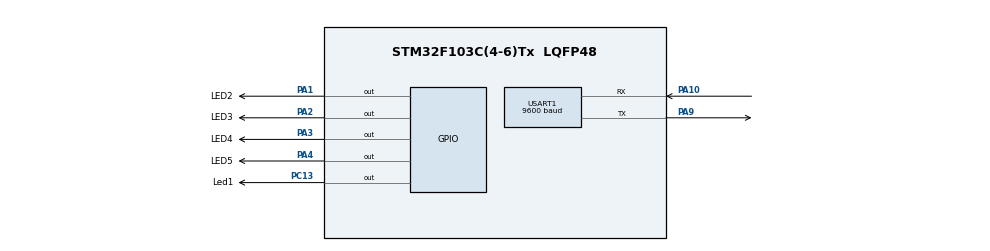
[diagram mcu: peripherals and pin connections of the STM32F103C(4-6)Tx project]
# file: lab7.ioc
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Mcu.Family=STM32F1
PA10.Mode=Asynchronous
USART1.BaudRate=9600
PC13-TAMPER-RTC.Signal=GPIO_Output
VP_SYS_VS_ND.Mode=No_Debug
ProjectManager.StackSize=0x400
PA9.Mode=Asynchronous
ProjectManager.TargetToolchain=STM32CubeIDE
PA9.Signal=USART1_TX
PA1.Signal=GPIO_Output
board=custom
PC13-TAMPER-RTC.GPIO_Label=Led1
RCC.APB2Freq_Value=8000000
PA1.GPIO_Label=LED2
Mcu.Name=STM32F103C(4-6)Tx
PA2.Signal=GPIO_Output
PA4.Signal=GPIO_Output
Mcu.Package=LQFP48
USART1.VirtualMode=VM_ASYNC
PA2.GPIO_Label=LED3
PA10.Signal=USART1_RX
ProjectManager.HeapSize=0x200
NVIC.PriorityGroup=NVIC_PRIORITYGROUP_4
NVIC.USART1_IRQn=true\:0\:0\:false\:false\:true\:true\:true
RCC.APB1Freq_Value=8000000
PA4.GPIO_Label=LED5
PA3.GPIO_Label=LED4
PA3.Signal=GPIO_Output

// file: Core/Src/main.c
/* USER CODE BEGIN Header */
/**
  ******************************************************************************
  * @file           : main.c
  * @brief          : Main program body
  ******************************************************************************
  * @attention
  *
  * <h2><center>&copy; Copyright (c) 2021 STMicroelectronics.
  * All rights reserved.</center></h2>
  *
  * This software component is licensed by ST under BSD 3-Clause license,
  * the "License"; You may not use this file except in compliance with the
  * License. You may obtain a copy of the License at:
  *                        opensource.org/licenses/BSD-3-Clause
  *
  ******************************************************************************
  */
/* USER CODE END Header */
#include "main.h"

/* USER CODE BEGIN Includes */
#include <stdbool.h>
/* USER CODE END Includes */

UART_HandleTypeDef huart1;

/* USER CODE BEGIN PV */
uint8_t str[1];
bool RxCompleted = false;
bool TxCompleted = true;
/* USER CODE END PV */

void SystemClock_Config(void);
static void MX_GPIO_Init(void);
static void MX_USART1_UART_Init(void);
/* USER CODE BEGIN PFP */
void HAL_UART_TxCpltCallback(UART_HandleTypeDef *huart);
void HAL_UART_RxCpltCallback(UART_HandleTypeDef *huart);
/* USER CODE END PFP */

int main(void)
{

  /* MCU Configuration--------------------------------------------------------*/

  /* Reset of all peripherals, Initializes the Flash interface and the Systick. */
  HAL_Init();

  /* Configure the system clock */
  SystemClock_Config();

  /* Initialize all configured peripherals */
  MX_GPIO_Init();
  MX_USART1_UART_Init();
  /* USER CODE BEGIN 2 */
  HAL_UART_Receive_IT(&huart1, str, 1);
  /* USER CODE END 2 */

  /* Infinite loop */
  while (1)
  {
	if(str[0] == '0') HAL_GPIO_WritePin(Led1_GPIO_Port, Led1_Pin, GPIO_PIN_RESET);
	if(str[0] == '1') HAL_GPIO_WritePin(Led1_GPIO_Port, Led1_Pin, GPIO_PIN_SET);

	if(str[0] == 'q') HAL_GPIO_WritePin(LED2_GPIO_Port, LED2_Pin, GPIO_PIN_RESET);
	if(str[0] == 'w') HAL_GPIO_WritePin(LED2_GPIO_Port, LED2_Pin, GPIO_PIN_SET);

	if(str[0] == 'e') HAL_GPIO_WritePin(LED3_GPIO_Port, LED3_Pin, GPIO_PIN_RESET);
	if(str[0] == 'r') HAL_GPIO_WritePin(LED3_GPIO_Port, LED3_Pin, GPIO_PIN_SET);

	if(str[0] == 't') HAL_GPIO_WritePin(LED4_GPIO_Port, LED4_Pin, GPIO_PIN_RESET);
	if(str[0] == '0') HAL_GPIO_WritePin(LED4_GPIO_Port, LED4_Pin, GPIO_PIN_SET);

  }
}

void SystemClock_Config(void)
{
  RCC_OscInitTypeDef RCC_OscInitStruct = {0};
  RCC_ClkInitTypeDef RCC_ClkInitStruct = {0};

  /** Initializes the RCC Oscillators according to the specified parameters
  * in the RCC_OscInitTypeDef structure.
  */
  RCC_OscInitStruct.OscillatorType = RCC_OSCILLATORTYPE_HSI;
  RCC_OscInitStruct.HSIState = RCC_HSI_ON;
  RCC_OscInitStruct.HSICalibrationValue = RCC_HSICALIBRATION_DEFAULT;
  RCC_OscInitStruct.PLL.PLLState = RCC_PLL_NONE;
  if (HAL_RCC_OscConfig(&RCC_OscInitStruct) != HAL_OK)
  {
    Error_Handler();
  }
  /** Initializes the CPU, AHB and APB buses clocks
  */
  RCC_ClkInitStruct.ClockType = RCC_CLOCKTYPE_HCLK|RCC_CLOCKTYPE_SYSCLK
                              |RCC_CLOCKTYPE_PCLK1|RCC_CLOCKTYPE_PCLK2;
  RCC_ClkInitStruct.SYSCLKSource = RCC_SYSCLKSOURCE_HSI;
  RCC_ClkInitStruct.AHBCLKDivider = RCC_SYSCLK_DIV1;
  RCC_ClkInitStruct.APB1CLKDivider = RCC_HCLK_DIV1;
  RCC_ClkInitStruct.APB2CLKDivider = RCC_HCLK_DIV1;

  if (HAL_RCC_ClockConfig(&RCC_ClkInitStruct, FLASH_LATENCY_0) != HAL_OK)
  {
    Error_Handler();
  }
}

static void MX_USART1_UART_Init(void)
{

  huart1.Instance = USART1;
  huart1.Init.BaudRate = 9600;
  huart1.Init.WordLength = UART_WORDLENGTH_8B;
  huart1.Init.StopBits = UART_STOPBITS_1;
  huart1.Init.Parity = UART_PARITY_NONE;
  huart1.Init.Mode = UART_MODE_TX_RX;
  huart1.Init.HwFlowCtl = UART_HWCONTROL_NONE;
  huart1.Init.OverSampling = UART_OVERSAMPLING_16;
  if (HAL_UART_Init(&huart1) != HAL_OK)
  {
    Error_Handler();
  }

}

static void MX_GPIO_Init(void)
{
  GPIO_InitTypeDef GPIO_InitStruct = {0};

  /* GPIO Ports Clock Enable */
  __HAL_RCC_GPIOC_CLK_ENABLE();
  __HAL_RCC_GPIOA_CLK_ENABLE();

  /*Configure GPIO pin Output Level */
  HAL_GPIO_WritePin(Led1_GPIO_Port, Led1_Pin, GPIO_PIN_RESET);

  /*Configure GPIO pin Output Level */
  HAL_GPIO_WritePin(GPIOA, LED2_Pin|LED3_Pin|LED4_Pin|LED5_Pin, GPIO_PIN_RESET);

  /*Configure GPIO pin : Led1_Pin */
  GPIO_InitStruct.Pin = Led1_Pin;
  GPIO_InitStruct.Mode = GPIO_MODE_OUTPUT_PP;
  GPIO_InitStruct.Pull = GPIO_NOPULL;
  GPIO_InitStruct.Speed = GPIO_SPEED_FREQ_LOW;
  HAL_GPIO_Init(Led1_GPIO_Port, &GPIO_InitStruct);

  /*Configure GPIO pins : LED2_Pin LED3_Pin LED4_Pin LED5_Pin */
  GPIO_InitStruct.Pin = LED2_Pin|LED3_Pin|LED4_Pin|LED5_Pin;
  GPIO_InitStruct.Mode = GPIO_MODE_OUTPUT_PP;
  GPIO_InitStruct.Pull = GPIO_NOPULL;
  GPIO_InitStruct.Speed = GPIO_SPEED_FREQ_LOW;
  HAL_GPIO_Init(GPIOA, &GPIO_InitStruct);

}

/* USER CODE BEGIN 4 */
void HAL_UART_RxCpltCallback(UART_HandleTypeDef *huart)
{

	if(huart == &huart1)
	{
		RxCompleted = true;
		if(TxCompleted == true)
		{
			TxCompleted =false;
			//HAL_UART_Transmit_IT(&huart1, str, 1);

			if(str[0] == 'a') HAL_GPIO_TogglePin(GPIOA, LED5_Pin);
		}

	}

}

void HAL_UART_TxCpltCallback(UART_HandleTypeDef *huart)
{

	if(huart == &huart1)
	{
		TxCompleted = true;
		if(RxCompleted == true)
		{
			RxCompleted =false;
			HAL_UART_Receive_IT(&huart1, str, 1);
		}

	}

}
/* USER CODE END 4 */

void Error_Handler(void)
{
  __disable_irq();
  while (1)
  {
  }
}

/************************ (C) COPYRIGHT STMicroelectronics *****END OF FILE****/
